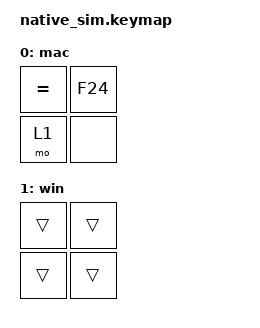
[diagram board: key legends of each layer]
/* Written by hand (not by generate.py). A switch already on at power-on,
 * like the B1 Pro's Mac/Win switch in the Win position, while an init between
 * the physical layouts and the keymap is slow (CONFIG_KB1_TEST_BOOT_DELAY_MS)
 * and ZMK Studio makes the keymap's bindings appear only at keymap_init().
 * src/early_events.c must replay the press: layer 1 is on, so US-JIS
 * substitutes = (C09). Without it, the press is lost (the program crashes on
 * native_sim; the B1 Pro stayed in the Mac layer). */
#include <dt-bindings/zmk/keys.h>
#include <behaviors.dtsi>
#include <dt-bindings/zmk/kscan_mock.h>
#include <dt-bindings/zmk/usjis.h>
#include <zephyr/dt-bindings/gpio/gpio.h>
#include <dt-bindings/zmk/matrix_transform.h>
#include <physical_layouts.dtsi>

&kscan {
    rows = <1>;
    columns = <2>;
    events = <
        ZMK_MOCK_PRESS(0,0,1000)
        ZMK_MOCK_RELEASE(0,0,10)
        ZMK_MOCK_PRESS(0,1,10)
        ZMK_MOCK_RELEASE(0,1,10)
    >;
};

/ {
    chosen {
        zmk,kscan = &composite;
        zmk,physical-layout = &test_layout;
    };

    /* ZMK Studio needs a physical layout; with Studio the keymap's bindings
     * are copied in at init, which is what makes the race possible. */
    test_transform: test_transform {
        compatible = "zmk,matrix-transform";
        rows = <2>;
        columns = <2>;
        map = <RC(0,0) RC(0,1) RC(1,0) RC(1,1)>;
    };

    test_layout: test_layout {
        compatible = "zmk,physical-layout";
        display-name = "test";
        transform = <&test_transform>;
        keys = <&key_physical_attrs 100 100 0 0 0 0 0>,
               <&key_physical_attrs 100 100 100 0 0 0 0>,
               <&key_physical_attrs 100 100 0 100 0 0 0>,
               <&key_physical_attrs 100 100 100 100 0 0 0>;
    };

    /* The Mac/Win switch: the emulated GPIO reads low from boot, so this
     * active-low input is on at power-on, like the Win position. */
    kscan_direct: kscan_direct {
        compatible = "zmk,kscan-gpio-direct";
        debounce-scan-period-ms = <50>;
        debounce-press-ms = <150>;
        debounce-release-ms = <150>;
        input-gpios = <&gpio0 5 GPIO_ACTIVE_LOW>;
    };

    composite: composite {
        compatible = "zmk,kscan-composite";
        rows = <2>;
        columns = <2>;
        mock {
            kscan = <&kscan>;
        };
        direct {
            kscan = <&kscan_direct>;
            row-offset = <1>;
        };
    };

    behaviors {
        usjis: usjis {
            compatible = "zmk,behavior-usjis";
            #binding-cells = <1>;
        };
    };

    keymap {
        compatible = "zmk,keymap";
        mac {
            bindings = <&kp EQUAL &kp F24 &mo 1 &none>;
        };
        win {
            bindings = <&trans &trans &trans &trans>;
        };
    };
};
